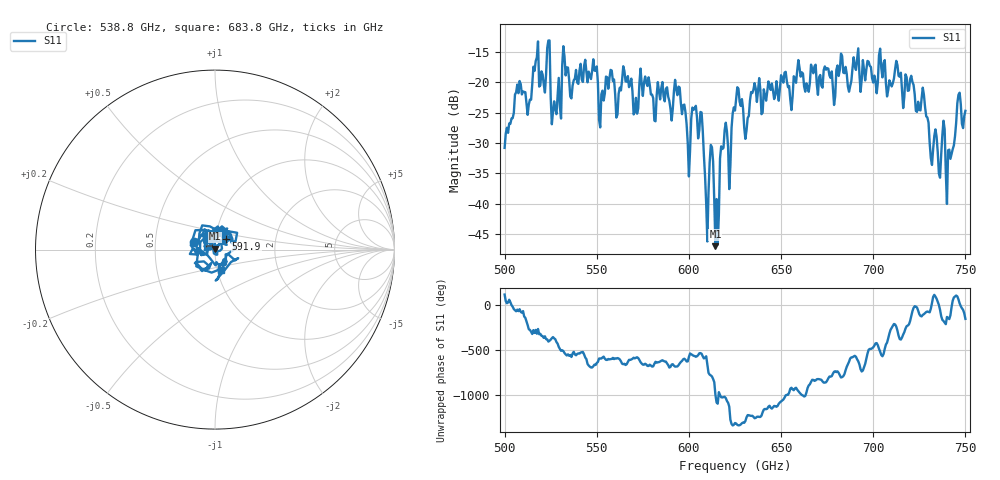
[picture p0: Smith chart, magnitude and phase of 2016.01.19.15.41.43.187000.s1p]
!Created with skrf (http://scikit-rf.org).
# GHz S RI R 50.0
!freq ReS11 ImS11
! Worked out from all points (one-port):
!   401 points, 500 GHz to 750 GHz, reference 50 ohm
!   lowest |S11| = -47.0 dB at 614.4 GHz (marker M1), VSWR 1.01, Z = 50.1 + j0.436 ohm
!   |S11| at or under -10 dB: start of sweep to end of sweep
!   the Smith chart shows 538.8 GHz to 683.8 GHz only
!   S11 on the Smith chart (normalised r, x): 538.8 GHz: 0.78, +0.07; 591.9 GHz: 1.12, +0.13; 683.8 GHz: 1.04, -0.24
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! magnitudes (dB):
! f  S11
! 500 GHz  -30.8
! 507.5 GHz  -21.8
! 513.1 GHz  -23.7
! 516.9 GHz  -16.5
! 523.8 GHz  -13.1
! 526.9 GHz  -23.1
! 531.2 GHz  -17.2
! 538.8 GHz  -18.0
! 562.5 GHz  -20.9
! 591.9 GHz  -21.4
! 593.8 GHz  -22.1
! 599.4 GHz  -30.1
! 602.5 GHz  -24.5
! 606.9 GHz  -25.0
! 609.4 GHz  -40.0
! 612.5 GHz  -30.7
! 614.4 GHz  -47.0
! 618.8 GHz  -30.8
! 621.9 GHz  -37.6
! 625 GHz  -24.6
! 631.2 GHz  -27.9
! 656.2 GHz  -22.4
! 683.8 GHz  -18.4
! 687.5 GHz  -20.6
! 718.8 GHz  -21.4
! 740.6 GHz  -31.2
! 746.2 GHz  -22.0
! 750 GHz  -24.7
